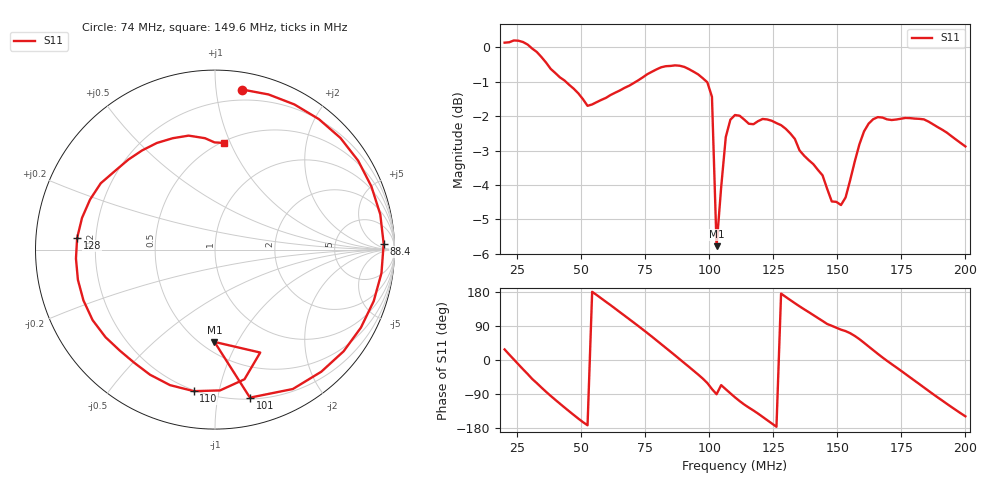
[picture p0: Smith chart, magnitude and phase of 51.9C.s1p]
# HZ S RI R 50
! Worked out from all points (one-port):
!   101 points, 20 MHz to 200 MHz, reference 50 ohm
!   lowest |S11| = -5.8 dB at 102.8 MHz (marker M1), VSWR 3.12, Z = 28.9 - j40.5 ohm
!   |S11| at or under -10 dB: nowhere
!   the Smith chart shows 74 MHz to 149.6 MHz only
!   S11 on the Smith chart (normalised r, x): 74 MHz: 0.12, +1.18; 88.4 MHz: 25, +14; 101 MHz: 0.21, -1.24; 110 MHz: 0.19, -0.84; 128 MHz: 0.13, +0.04; 149.6 MHz: 0.51, +0.95
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2e7  0.8979 0.4749
2.54e7  1.001 -0.2061
3.26e7  0.4758 -0.8618
3.8e7  -0.0757 -0.9274
4.34e7  -0.5165 -0.731
4.88e7  -0.7748 -0.3672
5.42e7  -0.8262 0.000167
6.5e7  -0.5139 0.6965
7.4e7  0.1509 0.8919
8.12e7  0.6988 0.6221
8.84e7  0.9398 0.0324
9.56e7  0.7167 -0.5664
1.01e8  0.1947 -0.8248
1.028e8  -0.00299 -0.5143
1.046e8  0.2519 -0.5736
1.1e8  -0.1182 -0.7886
1.208e8  -0.682 -0.3928
1.28e8  -0.7681 0.065
1.334e8  -0.6364 0.3697
1.424e8  -0.2354 0.6206
1.496e8  0.0511 0.5943
1.55e8  0.212 0.6056
1.604e8  0.5297 0.5379
1.658e8  0.7603 0.2212
1.73e8  0.7408 -0.2613
1.784e8  0.5493 -0.5667
1.874e8  -0.00225 -0.773
2e8  -0.613 -0.3737
